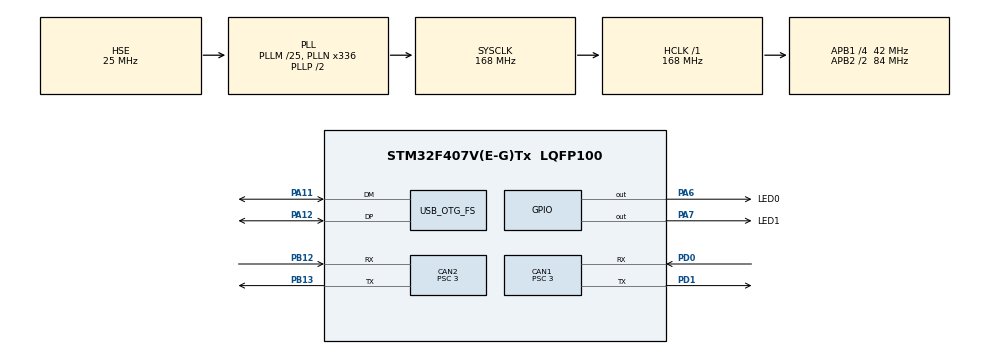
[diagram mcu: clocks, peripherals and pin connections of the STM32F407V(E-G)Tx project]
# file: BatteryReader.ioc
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CAN1.BS1=CAN_BS1_10TQ
CAN1.BS2=CAN_BS2_3TQ
CAN1.CalculateBaudRate=1000000
CAN1.CalculateTimeBit=1000
CAN1.CalculateTimeQuantum=71.42857142857143
CAN1.Prescaler=3
CAN2.BS1=CAN_BS1_10TQ
CAN2.BS2=CAN_BS2_3TQ
CAN2.CalculateBaudRate=1000000
CAN2.CalculateTimeBit=1000
CAN2.CalculateTimeQuantum=71.42857142857143
CAN2.Prescaler=3
Mcu.Family=STM32F4
Mcu.Name=STM32F407V(E-G)Tx
Mcu.Package=LQFP100
NVIC.OTG_FS_IRQn=true\:0\:0\:false\:false\:true\:false\:true
NVIC.PriorityGroup=NVIC_PRIORITYGROUP_4
NVIC.TIM2_IRQn=true\:0\:0\:false\:false\:true\:true\:true
PA11.Mode=Device_Only
PA11.Signal=USB_OTG_FS_DM
PA12.Mode=Device_Only
PA12.Signal=USB_OTG_FS_DP
PA13.Mode=Serial_Wire
PA13.Signal=SYS_JTMS-SWDIO
PA14.Mode=Serial_Wire
PA14.Signal=SYS_JTCK-SWCLK
PA6.GPIO_Label=LED0
PA6.Signal=GPIO_Output
PA7.GPIO_Label=LED1
PA7.PinState=GPIO_PIN_SET
PA7.Signal=GPIO_Output
PB12.Mode=CAN_Activate
PB12.Signal=CAN2_RX
PB13.Mode=CAN_Activate
PB13.Signal=CAN2_TX
PC14-OSC32_IN.Mode=LSE-External-Oscillator
PC14-OSC32_IN.Signal=RCC_OSC32_IN
PC15-OSC32_OUT.Mode=LSE-External-Oscillator
PC15-OSC32_OUT.Signal=RCC_OSC32_OUT
PD0.Mode=CAN_Activate
PD0.Signal=CAN1_RX
PD1.Mode=CAN_Activate
PD1.Signal=CAN1_TX
PH0-OSC_IN.Mode=HSE-External-Oscillator
PH0-OSC_IN.Signal=RCC_OSC_IN
PH1-OSC_OUT.Mode=HSE-External-Oscillator
PH1-OSC_OUT.Signal=RCC_OSC_OUT
ProjectManager.HeapSize=0x200
ProjectManager.StackSize=0x400
ProjectManager.TargetToolchain=STM32CubeIDE
RCC.48MHZClocksFreq_Value=48000000
RCC.AHBFreq_Value=168000000
RCC.APB1CLKDivider=RCC_HCLK_DIV4
RCC.APB1Freq_Value=42000000
RCC.APB1TimFreq_Value=84000000
RCC.APB2CLKDivider=RCC_HCLK_DIV2
RCC.APB2Freq_Value=84000000
RCC.APB2TimFreq_Value=168000000
RCC.CortexFreq_Value=168000000
RCC.HCLKFreq_Value=168000000
RCC.HSE_VALUE=25000000
RCC.HSI_VALUE=16000000
RCC.PLLM=25
RCC.PLLN=336
RCC.PLLQ=7
RCC.SYSCLKFreq_VALUE=168000000
RCC.SYSCLKSource=RCC_SYSCLKSOURCE_PLLCLK
RCC.VCOOutputFreq_Value=336000000
USB_DEVICE.CLASS_NAME_FS=CDC
USB_DEVICE.VirtualMode-CDC_FS=Cdc
USB_DEVICE.VirtualModeFS=Cdc_FS
USB_OTG_FS.VirtualMode=Device_Only
VP_TIM2_VS_ClockSourceINT.Mode=Internal
VP_USB_DEVICE_VS_USB_DEVICE_CDC_FS.Mode=CDC_FS
board=custom

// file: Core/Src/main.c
/* USER CODE BEGIN Header */
/**
  ******************************************************************************
  * @file           : main.c
  * @brief          : Main program body
  ******************************************************************************
  * @attention
  *
  * Copyright (c) 2022 STMicroelectronics.
  * All rights reserved.
  *
  * This software is licensed under terms that can be found in the LICENSE file
  * in the root directory of this software component.
  * If no LICENSE file comes with this software, it is provided AS-IS.
  *
  ******************************************************************************
  */
/* USER CODE END Header */
#include "main.h"
#include "can.h"
#include "tim.h"
#include "usb_device.h"
#include "gpio.h"

/* USER CODE BEGIN PD */
#define LED0_ON() HAL_GPIO_WritePin(GPIOA, GPIO_PIN6, HIGH);
#define LED0_Off() HAL_GPIO_WritePin(GPIOA, GPIO_PIN6, LOW);
#define LED0_TOG() HAL_GPIO_TogglePin(GPIOA, GPIO_PIN6);
#define LED1_ON() HAL_GPIO_WritePin(GPIOA, GPIO_PIN7, HIGH);
#define LED1_Off() HAL_GPIO_WritePin(GPIOA, GPIO_PIN7, LOW);
#define LED1_TOG() HAL_GPIO_TogglePin(GPIOA, GPIO_PIN7);
/* USER CODE END PD */

/* USER CODE BEGIN PV */
struct BCU_HCU_INFO{
	uint8_t BatVoltage_MSB;
	uint8_t BatVoltage_LSB;
	uint16_t BatVoltage; //动力电池总电压
	uint8_t BatCurrent_MSB;
	uint8_t BatCurrent_LSB;
	uint16_t BatCurrent; //动力电池总电流
	uint8_t BatSoc; //动力电池SOC
	uint8_t BatSoh; //动力电池COH
	uint8_t BatState; /*动力电池状态
						1:Sleep (休眠)
						2:Power Up (自检状态)
						3:Standby (待机状态)
						4:Pre-charge (预充状态)
						5:Run (正常运行状态)
						6:Shutdown (关机状态)
						7:Error (故障状态)*/
	uint8_t BatAlmLv; /*0:无告警
						1:一级告警 (最严重)
						2:二级告警
						3:三级告警
						4:四级告警*/
	uint8_t BatLife; //通信生命信息 循环递增 (0 - 255)
};
struct BMS_HCU_MAXV{
	uint8_t MaxCellVolt_MSB;
	uint8_t MaxCellVolt_LSB;
	uint16_t MaxCellVolt; //最高单体电压
	uint8_t MinCellVolt_MSB;
	uint8_t MinCellVolt_LSB;
	uint16_t MinCellVolt; //最低单体电压
	uint8_t MaxCellVoltNo; //最高单体电压序号
	uint8_t MinCellVoltNo; //最低单体电压序号
};
struct BMS_HCU_MAXT{
	uint8_t MaxTemp; //最高温度
	uint8_t MinTemp; //最低温度
	uint8_t MaxTempNo; //最高温度序号
	uint8_t MinTempNo; //最低温度序号
	uint8_t CoolingCtl; //冷却控制, 0 停止, 1 启动
	uint8_t HeatingCtl; //发热控制, 0 停止, 1 启动
};
struct BMS_HCU_RELAY{
	uint8_t PosRlyStr; /*	总正继电器状态
							0:Open
							1:Close
							2:Error */
	uint8_t NegRlyStr; /*	总负继电器状态
							0:Open
							1:Close
							2:Error */
	uint8_t PreRlyStr; /*	预充继电器状态
							0:Open
							1:Close
							2:Error */
	uint8_t OnChrRlyStr; /*	车载充电（慢充）继电器状态
							0:Open
							1:Close
							2:Error */
	uint8_t OffChrRlyStr; /*非车载充电（快充）继电器状态
							0:Open
							1:Close
							2:Error */
	uint8_t ChrState; /*	充电状态
							0:停止充电
							1:进入充电
							2:恒流充电
							3:涓充充电
							4:充电完成 */
	uint8_t ChrCommunication; /*	充电机是否在线
									0：通信超时
									1：在线 */
	uint8_t ChrOFFCC2; /*	非车载充电机连接确认
							0：未连接
							1：已连接 */
	uint8_t ChrONCC; /*	车载充电机连接确认
						0: 未连接
						1: 220Ω
						2: 680Ω
						3: 未知 */
	uint8_t ChrReqVolt_MSB; //
	uint8_t ChrReqVolt_LSB; //
	uint16_t ChrReqVolt; //	充电请求电压
	uint8_t ChrReqCurr_MSB;
	uint8_t ChrReqCurr_LSB;
	uint16_t ChrReqCurr; // 充电请求电流
};
struct BMS_HCU_POWER{
	uint8_t MaxChrCurtLimit_MSB;
	uint8_t MaxChrCurtLimit_LSB;
	uint16_t MaxChrCurtLimit; //当前最大允许充电电流
	uint8_t MaxDisCurtLimit_MSB;
	uint8_t MaxDisCurtLimit_LSB;
	uint16_t MaxDisCurtLimit; //当前最大允许放电电流
	uint8_t MaxChrPowerLimit_MSB;
	uint8_t MaxChrPowerLimit_LSB;
	uint16_t MaxChrPowerLimit; //当前最大允许充电功率
	uint8_t MaxDisPowerLimit_MSB;
	uint8_t MaxDisPowerLimit_LSB;
	uint16_t MaxDisPowerLimit; //当前最大允许放电功率
};
struct BMS_HCU_ALARM{
	uint8_t ALM_CELL_OV; /*	单体过压
							0:无告警
							1:1级告警（最严重）
							2:2级告警
							3:3级告警
							4:4级告警 */
	uint8_t ALM_CELL_UV; /*	单体欠压
							0:无告警
							1:1级告警（最严重）
							2:2级告警
							3:3级告警
							4:4级告警 */
	uint8_t ALM_CELL_OT; /*	电池高温
							0:无告警
							1:1级告警（最严重）
							2:2级告警
							3:3级告警
							4:4级告警 */
	uint8_t ALM_CELL_UT; /*	电池低温
							0:无告警
							1:1级告警（最严重）
							2:2级告警
							3:3级告警
							4:4级告警 */
	uint8_t ALM_CELL_LBK; /*单体电压断线
							0:无告警
							1:1级告警 */
	uint8_t ALM_CELL_TBK; /*单体温度断线
							0:无告警
							1:1级告警 */
	uint8_t ALM_BATT_DV; /*	单体压差过大
							0:无告警
							1:1级告警（最严重）
							2:2级告警
							3:3级告警
							4:4级告警 */
	uint8_t ALM_BATT_DT; /*	电池温差过大
							0:无告警
							1:1级告警（最严重）
							2:2级告警
							3:3级告警
							4:4级告警 */
	uint8_t ALM_BATT_OV; //	整组过压
	uint8_t ALM_BATT_UV; //	整组欠压
	uint8_t ALM_BATT_OC; //	电池组SOC过高
	uint8_t ALM_BATT_UC; //	电池组SOC过低
	uint8_t ALM_CHRG_OCS; //稳态充电过流
	uint8_t ALM_DSCH_OCS; //稳态放电过流
	uint8_t ALM_CHRG_OCT; //瞬态充电过流
	uint8_t ALM_DSCH_OCT; //瞬态放电过流
	uint8_t ALM_BSU_OFFLINE; //	BSU离线
	uint8_t ALM_BSU_FAULT; /*	BSU均衡故障
								0:无告警
								1:1级告警 */
	uint8_t ALM_LEAK_OC; /*	漏电流超限
							0:无告警
							1:1级告警（最严重）
							2:2级告警
							3:3级告警
							4:4级告警 */
	uint8_t ALM_PRECHRG_FAIL; /*预充失败
								0:无告警
								1:1级告警 */
	uint8_t ALM_AUX_FAIL; /*	继电器故障
								0:无告警
								1:1级告警 */
	uint8_t ALM_BMU_FAIL; /*	BMU故障
								0:无告警
								1:1级告警 */
	uint8_t ALM_VCU_OFFLINE; /*	HCU通信超时
								0:无告警
								1:1级告警（最严重）
								2:2级告警
								3:3级告警
								4:4级告警 */
	uint8_t ALM_HVREL_FAIL; /*	电池高压异常
								0:无告警
								1:1级告警 */
	uint8_t ALM_HALL_BREAK;/*	霍尔断线
								0:无告警
								1:1级告警 */
};
/* USER CODE END PV */

void SystemClock_Config(void);

int main(void)
{

  /* MCU Configuration--------------------------------------------------------*/

  /* Reset of all peripherals, Initializes the Flash interface and the Systick. */
  HAL_Init();

  /* Configure the system clock */
  SystemClock_Config();

  /* Initialize all configured peripherals */
  MX_GPIO_Init();
  MX_CAN1_Init();
  MX_CAN2_Init();
  MX_TIM2_Init();
  MX_USB_DEVICE_Init();

  /* Infinite loop */
  while (1)
  {

    /* USER CODE BEGIN 3 */
	  HAL_Delay(500);
	  LED0_TOG();

  }
  /* USER CODE END 3 */
}

void SystemClock_Config(void)
{
  RCC_OscInitTypeDef RCC_OscInitStruct = {0};
  RCC_ClkInitTypeDef RCC_ClkInitStruct = {0};

  /** Configure the main internal regulator output voltage
  */
  __HAL_RCC_PWR_CLK_ENABLE();
  __HAL_PWR_VOLTAGESCALING_CONFIG(PWR_REGULATOR_VOLTAGE_SCALE1);
  /** Initializes the RCC Oscillators according to the specified parameters
  * in the RCC_OscInitTypeDef structure.
  */
  RCC_OscInitStruct.OscillatorType = RCC_OSCILLATORTYPE_HSE;
  RCC_OscInitStruct.HSEState = RCC_HSE_ON;
  RCC_OscInitStruct.PLL.PLLState = RCC_PLL_ON;
  RCC_OscInitStruct.PLL.PLLSource = RCC_PLLSOURCE_HSE;
  RCC_OscInitStruct.PLL.PLLM = 25;
  RCC_OscInitStruct.PLL.PLLN = 336;
  RCC_OscInitStruct.PLL.PLLP = RCC_PLLP_DIV2;
  RCC_OscInitStruct.PLL.PLLQ = 7;
  if (HAL_RCC_OscConfig(&RCC_OscInitStruct) != HAL_OK)
  {
    Error_Handler();
  }
  /** Initializes the CPU, AHB and APB buses clocks
  */
  RCC_ClkInitStruct.ClockType = RCC_CLOCKTYPE_HCLK|RCC_CLOCKTYPE_SYSCLK
                              |RCC_CLOCKTYPE_PCLK1|RCC_CLOCKTYPE_PCLK2;
  RCC_ClkInitStruct.SYSCLKSource = RCC_SYSCLKSOURCE_PLLCLK;
  RCC_ClkInitStruct.AHBCLKDivider = RCC_SYSCLK_DIV1;
  RCC_ClkInitStruct.APB1CLKDivider = RCC_HCLK_DIV4;
  RCC_ClkInitStruct.APB2CLKDivider = RCC_HCLK_DIV2;

  if (HAL_RCC_ClockConfig(&RCC_ClkInitStruct, FLASH_LATENCY_5) != HAL_OK)
  {
    Error_Handler();
  }
}

void Error_Handler(void)
{
  __disable_irq();
  while (1)
  {
  }
}
